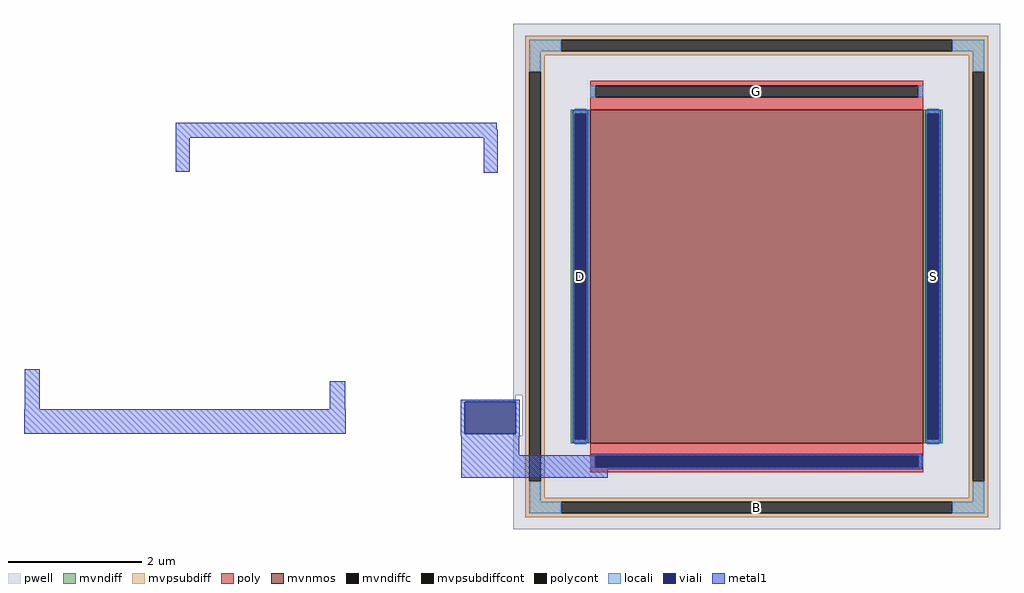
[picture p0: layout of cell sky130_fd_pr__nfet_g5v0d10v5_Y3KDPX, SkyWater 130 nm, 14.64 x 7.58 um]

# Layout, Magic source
magic
tech sky130A
magscale 1 2
<< pwell >>
rect -730 -356 730 758
rect -730 -478 -723 -356
rect -703 -478 730 -356
rect -730 -758 730 -478
<< mvnmos >>
rect -500 -500 500 500
<< mvndiff >>
rect -558 488 -500 500
rect -558 -488 -546 488
rect -512 -488 -500 488
rect -558 -500 -500 -488
rect 500 488 558 500
rect 500 -488 512 488
rect 546 -488 558 488
rect 500 -500 558 -488
<< mvndiffc >>
rect -546 -488 -512 488
rect 512 -488 546 488
<< mvpsubdiff >>
rect -694 710 694 722
rect -694 676 -586 710
rect 586 676 694 710
rect -694 664 694 676
rect -694 614 -636 664
rect -694 -614 -682 614
rect -648 -614 -636 614
rect 636 614 694 664
rect -694 -664 -636 -614
rect 636 -614 648 614
rect 682 -614 694 614
rect 636 -664 694 -614
rect -694 -676 694 -664
rect -694 -710 -586 -676
rect 586 -710 694 -676
rect -694 -722 694 -710
<< mvpsubdiffcont >>
rect -586 676 586 710
rect -682 -614 -648 614
rect 648 -614 682 614
rect -586 -710 586 -676
<< poly >>
rect -500 572 500 588
rect -500 538 -484 572
rect 484 538 500 572
rect -500 500 500 538
rect -500 -538 500 -500
rect -500 -572 -484 -538
rect 484 -572 500 -538
rect -500 -588 500 -572
<< polycont >>
rect -484 538 484 572
rect -484 -572 484 -538
<< locali >>
rect -682 676 -586 710
rect 586 676 682 710
rect -682 614 -648 676
rect 648 614 682 676
rect -500 538 -484 572
rect 484 538 500 572
rect -546 488 -512 504
rect -546 -504 -512 -488
rect 512 488 546 504
rect 512 -504 546 -488
rect -500 -572 -484 -538
rect 484 -572 500 -538
rect -682 -676 -648 -614
rect 648 -676 682 -614
rect -682 -710 -586 -676
rect 586 -710 682 -676
<< viali >>
rect -877 -472 -723 -376
rect -546 -488 -512 488
rect 512 -488 546 488
rect -484 -572 484 -538
<< metal1 >>
rect -552 488 -506 500
rect -1743 440 -781 462
rect -1743 416 -777 440
rect -1743 314 -1701 416
rect -819 312 -777 416
rect -2197 -398 -2151 -278
rect -1281 -398 -1235 -314
rect -889 -376 -711 -370
rect -2199 -472 -1233 -398
rect -889 -472 -877 -376
rect -723 -472 -711 -376
rect -889 -478 -711 -472
rect -887 -536 -713 -478
rect -552 -488 -546 488
rect -512 -488 -506 488
rect -552 -500 -506 -488
rect 506 488 552 500
rect 506 -488 512 488
rect 546 -488 552 488
rect 506 -500 552 -488
rect -496 -536 496 -532
rect -887 -538 496 -536
rect -887 -572 -484 -538
rect 484 -572 496 -538
rect -887 -578 496 -572
rect -887 -604 -447 -578
<< labels >>
rlabel mvpsubdiffcont 0 -693 0 -693 0 B
port 5 nsew
rlabel mvndiffc -529 0 -529 0 0 D
port 6 nsew
rlabel mvndiffc 529 0 529 0 0 S
port 7 nsew
rlabel polycont 0 555 0 555 0 G
port 8 nsew
<< properties >>
string FIXED_BBOX -665 -693 665 693
string gencell sky130_fd_pr__nfet_g5v0d10v5
string library sky130
string parameters w 5 l 5 m 1 nf 1 diffcov 100 polycov 100 guard 1 glc 1 grc 1 gtc 1 gbc 1 tbcov 100 rlcov 100 topc 1 botc 1 poverlap 0 doverlap 1 lmin 0.50 wmin 0.42 class mosfet compatible {sky130_fd_pr__nfet_01v8 sky130_fd_pr__nfet_01v8_lvt  sky130_fd_bs_flash__special_sonosfet_star  sky130_fd_pr__nfet_g5v0d10v5 sky130_fd_pr__nfet_05v0_nvt  sky130_fd_pr__nfet_03v3_nvt} full_metal 1 conn_gates 0 viasrc 100 viadrn 100 viagate 100 viagb 0 viagr 0 viagl 0 viagt 0 doports 1
<< end >>
